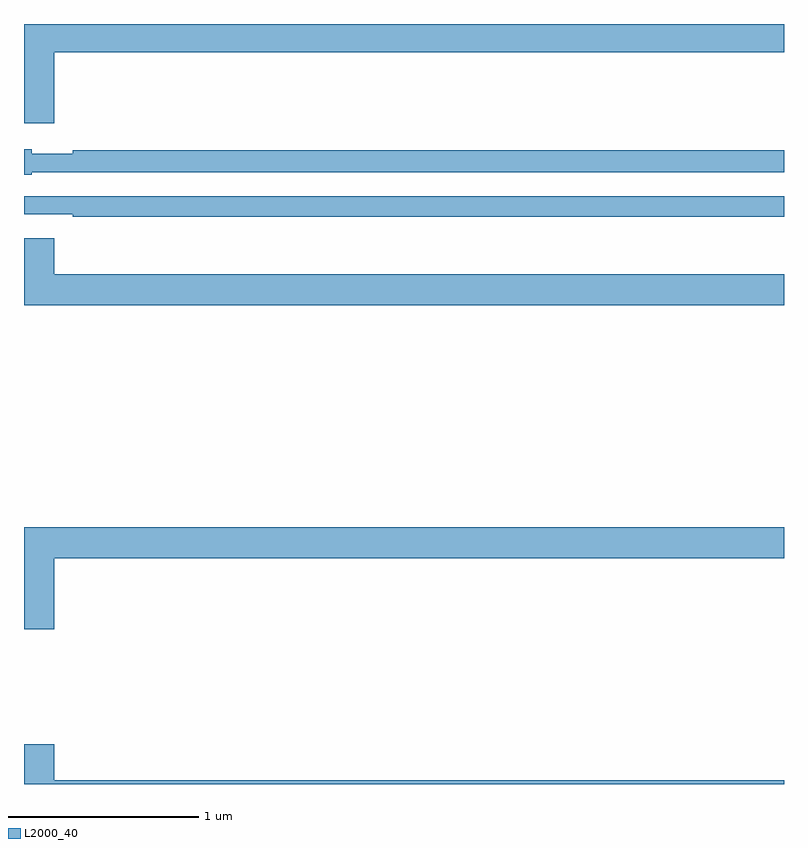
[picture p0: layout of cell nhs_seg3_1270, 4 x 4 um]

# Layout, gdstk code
import gdstk
lib = gdstk.Library(unit=1e-6, precision=1e-09)
def P(c, l, *ps):  # polygons
    for p in ps: c.add(gdstk.Polygon(p, *l))
L2000_40 = (2000, 40)

nhs_seg3_1270 = lib.new_cell('nhs_seg3_1270')
P(nhs_seg3_1270, L2000_40, [(177.16,698.252),(181,698.252),(181,698.4),(177,698.4),(177,697.878),(177.16,697.878)],
  [(177.042,697.62),(181,697.62),(181,697.736),(177.256,697.736),(177.256,697.717),(177.042,697.717),(177.042,697.742),(177,697.742),(177,697.607),(177.042,697.607)],
  [(181,697.494),(177,697.494),(177,697.398),(177.256,697.398),(177.256,697.386),(181,697.386)],
  [(181,697.084),(177.16,697.084),(177.16,697.273),(177,697.273),(177,696.92),(181,696.92)],
  [(177.16,695.588),(181,695.588),(181,695.752),(177,695.752),(177,695.214),(177.16,695.214)],
  [(181,694.42),(177.16,694.42),(177.16,694.609),(177,694.609),(177,694.4),(181,694.4)])

lib.write_gds('nhs_seg3_1270.gds')
